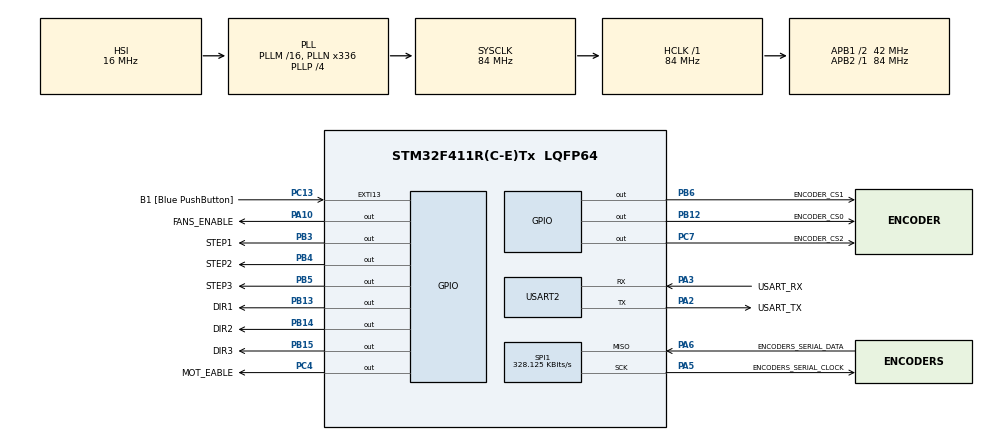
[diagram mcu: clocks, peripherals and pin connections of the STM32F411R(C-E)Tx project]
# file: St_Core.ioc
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Mcu.Family=STM32F4
Mcu.Name=STM32F411R(C-E)Tx
Mcu.Package=LQFP64
NVIC.PriorityGroup=NVIC_PRIORITYGROUP_2
NVIC.TIM1_TRG_COM_TIM11_IRQn=true\:2\:2\:true\:false\:true\:true
NVIC.TIM1_UP_TIM10_IRQn=true\:1\:1\:true\:false\:true\:true
NVIC.USART2_IRQn=true\:0\:0\:false\:false\:true\:true
PA10.GPIO_Label=FANS_ENABLE
PA10.Signal=GPIO_Output
PA13.GPIO_Label=TMS
PA13.Mode=Serial_Wire
PA13.Signal=SYS_JTMS-SWDIO
PA14.GPIO_Label=TCK
PA14.Mode=Serial_Wire
PA14.Signal=SYS_JTCK-SWCLK
PA2.GPIO_Label=USART_TX
PA2.Mode=Asynchronous
PA2.Signal=USART2_TX
PA3.GPIO_Label=USART_RX
PA3.Mode=Asynchronous
PA3.Signal=USART2_RX
PA5.GPIO_Label=ENCODERS_SERIAL_CLOCK
PA5.Mode=RX_Only_Simplex_Unidirect_Master
PA5.Signal=SPI1_SCK
PA6.GPIO_Label=ENCODERS_SERIAL_DATA
PA6.Mode=RX_Only_Simplex_Unidirect_Master
PA6.Signal=SPI1_MISO
PB12.GPIO_Label=ENCODER_CS0
PB12.Signal=GPIO_Output
PB13.GPIO_Label=DIR1
PB13.Signal=GPIO_Output
PB14.GPIO_Label=DIR2
PB14.Signal=GPIO_Output
PB15.GPIO_Label=DIR3
PB15.Signal=GPIO_Output
PB3.GPIO_Label=STEP1
PB3.Signal=GPIO_Output
PB4.GPIO_Label=STEP2
PB4.Signal=GPIO_Output
PB5.GPIO_Label=STEP3
PB5.Signal=GPIO_Output
PB6.GPIO_Label=ENCODER_CS1
PB6.Signal=GPIO_Output
PC13-ANTI_TAMP.GPIO_Label=B1 [Blue PushButton]
PC13-ANTI_TAMP.GPIO_ModeDefaultEXTI=GPIO_MODE_IT_FALLING
PC13-ANTI_TAMP.Signal=GPXTI13
PC14-OSC32_IN.Mode=LSE-External-Oscillator
PC14-OSC32_IN.Signal=RCC_OSC32_IN
PC15-OSC32_OUT.Mode=LSE-External-Oscillator
PC15-OSC32_OUT.Signal=RCC_OSC32_OUT
PC4.GPIO_Label=MOT_EABLE
PC4.Signal=GPIO_Output
PC7.GPIO_Label=ENCODER_CS2
PC7.Signal=GPIO_Output
PH0\ -\ OSC_IN.Mode=HSE-External-Clock-Source
PH0\ -\ OSC_IN.Signal=RCC_OSC_IN
PH1\ -\ OSC_OUT.Mode=HSE-External-Clock-Source
PH1\ -\ OSC_OUT.Signal=RCC_OSC_OUT
ProjectManager.HeapSize=0x200
ProjectManager.StackSize=0x400
ProjectManager.TargetToolchain=SW4STM32
RCC.48MHZClocksFreq_Value=84000000
RCC.AHBFreq_Value=84000000
RCC.APB1CLKDivider=RCC_HCLK_DIV2
RCC.APB1Freq_Value=42000000
RCC.APB1TimFreq_Value=84000000
RCC.APB2Freq_Value=84000000
RCC.APB2TimFreq_Value=84000000
RCC.CortexFreq_Value=84000000
RCC.FLatency-AdvancedSettings=FLASH_LATENCY_2
RCC.HCLKFreq_Value=84000000
RCC.HSE_VALUE=8000000
RCC.HSI_VALUE=16000000
RCC.PLLN=336
RCC.PLLP=RCC_PLLP_DIV4
RCC.SYSCLKFreq_VALUE=84000000
RCC.SYSCLKSource=RCC_SYSCLKSOURCE_PLLCLK
RCC.VCOOutputFreq_Value=336000000
SPI1.BaudRatePrescaler=SPI_BAUDRATEPRESCALER_256
SPI1.CLKPhase=SPI_PHASE_2EDGE
SPI1.CLKPolarity=SPI_POLARITY_HIGH
SPI1.CalculateBaudRate=328.125 KBits/s
SPI1.DataSize=SPI_DATASIZE_16BIT
SPI1.Direction=SPI_DIRECTION_2LINES_RXONLY
SPI1.Mode=SPI_MODE_MASTER
SPI1.VirtualType=VM_MASTER
TIM10.Period=10
TIM10.Prescaler=7
TIM11.Period=1007
TIM11.Prescaler=28
USART2.VirtualMode=VM_ASYNC
VP_TIM10_VS_ClockSourceINT.Mode=Enable_Timer
VP_TIM11_VS_ClockSourceINT.Mode=Enable_Timer
board=NUCLEO-F411RE

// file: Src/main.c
/**
  ******************************************************************************
  * @file           : main.c
  * @brief          : Main program body
  ******************************************************************************
  ** This notice applies to any and all portions of this file
  * that are not between comment pairs USER CODE BEGIN and
  * USER CODE END. Other portions of this file, whether
  * inserted by the user or by software development tools
  * are owned by their respective copyright owners.
  *
  * COPYRIGHT(c) 2018 STMicroelectronics
  *
  * Redistribution and use in source and binary forms, with or without modification,
  * are permitted provided that the following conditions are met:
  *   1. Redistributions of source code must retain the above copyright notice,
  *      this list of conditions and the following disclaimer.
  *   2. Redistributions in binary form must reproduce the above copyright notice,
  *      this list of conditions and the following disclaimer in the documentation
  *      and/or other materials provided with the distribution.
  *   3. Neither the name of STMicroelectronics nor the names of its contributors
  *      may be used to endorse or promote products derived from this software
  *      without specific prior written permission.
  *
  * THIS SOFTWARE IS PROVIDED BY THE COPYRIGHT HOLDERS AND CONTRIBUTORS "AS IS"
  * AND ANY EXPRESS OR IMPLIED WARRANTIES, INCLUDING, BUT NOT LIMITED TO, THE
  * IMPLIED WARRANTIES OF MERCHANTABILITY AND FITNESS FOR A PARTICULAR PURPOSE ARE
  * DISCLAIMED. IN NO EVENT SHALL THE COPYRIGHT HOLDER OR CONTRIBUTORS BE LIABLE
  * FOR ANY DIRECT, INDIRECT, INCIDENTAL, SPECIAL, EXEMPLARY, OR CONSEQUENTIAL
  * DAMAGES (INCLUDING, BUT NOT LIMITED TO, PROCUREMENT OF SUBSTITUTE GOODS OR
  * SERVICES; LOSS OF USE, DATA, OR PROFITS; OR BUSINESS INTERRUPTION) HOWEVER
  * CAUSED AND ON ANY THEORY OF LIABILITY, WHETHER IN CONTRACT, STRICT LIABILITY,
  * OR TORT (INCLUDING NEGLIGENCE OR OTHERWISE) ARISING IN ANY WAY OUT OF THE USE
  * OF THIS SOFTWARE, EVEN IF ADVISED OF THE POSSIBILITY OF SUCH DAMAGE.
  *
  ******************************************************************************
  */
#include "main.h"
#include "stm32f4xx_hal.h"
#include "spi.h"
#include "tim.h"
#include "usart.h"
#include "gpio.h"

/* USER CODE BEGIN Includes */
#include "Comms.h"
//#include "encoder_lib.h"
//#include "Steper.h"

/* USER CODE END Includes */

/* USER CODE BEGIN PV */
/* Private variables ---------------------------------------------------------*/

/* USER CODE END PV */

void SystemClock_Config(void);

/* USER CODE BEGIN PFP */
/* Private function prototypes -----------------------------------------------*/
//uint8_t Received[8];
int encoder_update;
incoming_buffer buffer;
int size=32;
float e1,e2,e3;

void HAL_UART_RxCpltCallback(UART_HandleTypeDef *huart)
{
	gather(&buffer);
	HAL_UART_Receive_IT(&huart2, &buffer.Byte, 1);

}
void HAL_TIM_PeriodElapsedCallback(TIM_HandleTypeDef *htim)
{

	if(htim->Instance == TIM11)
	{
				e_read(&position_from_encoder[0],0);
				e_read(&position_from_encoder[1],1);
				e_read(&position_from_encoder[2],2);

	}

	if(htim->Instance == TIM10){ //

		if(buffer.flag==1)
				{
					//HAL_GPIO_TogglePin(LD2_GPIO_Port,LD2_Pin);
					HAL_UART_Transmit_IT(&huart2, buffer.Send_, size);
					//HAL_UART_Transmit_IT(&huart1, buffer.Send_, size);
					buffer.flag=0;
				}

		Stepper_Counter_0++;	 Stepper_Counter_1++ ;	 Stepper_Counter_2++;	encoder_update++;
		if(encoder_update>1000)
		{

			e_read(&position_from_encoder[0],0);
			e_read(&position_from_encoder[1],1);
			e_read(&position_from_encoder[2],2);
			encoder_update=0;

		}

		//////////////////////////Stepper_0///////////////////////////////
		///////////      DIR1_Pin-Direction STEP1_Pin-Step              /////////////

		if(Stepper_Counter_0 > Period_memory_0)
		{

			//e_read(&position_from_encoder[0],0);
			Stepper_Counter_0 = 0;
			Next_Lin_Period(0);
			Period_memory_0 = Stepper_period[0];             //buffored value being loaded if counter reaches requested previous period.

			if(rotation_Dir_[0])
			{
				HAL_GPIO_WritePin(DIR1_GPIO_Port, DIR1_Pin, GPIO_PIN_SET);
			}
			else
			{
				HAL_GPIO_WritePin(DIR1_GPIO_Port, DIR1_Pin, GPIO_PIN_RESET);
			}
		}

		if(Period_memory_0!=0)
		{
			if(Stepper_Counter_0==0)   {	HAL_GPIO_WritePin(STEP1_GPIO_Port, STEP1_Pin, GPIO_PIN_SET);		}
			if(Stepper_Counter_0==1)   {	HAL_GPIO_WritePin(STEP1_GPIO_Port, STEP1_Pin, GPIO_PIN_RESET);	}
		}

		/////////////////////////////Stepper_1/////////////////////////////////////////////////////////////
		//////////////////////			 DIR2_Pin-Direction STEP2_Pin-Step								///////////////
		if(Stepper_Counter_1 > Period_memory_1)
		{

			//e_read(&position_from_encoder[1],1);
			Stepper_Counter_1 = 0;      	// reset licznika
			Next_Lin_Period(1);
			Period_memory_1 = Stepper_period[1];
			if(rotation_Dir_[1])
			{
				HAL_GPIO_WritePin(DIR2_GPIO_Port, DIR2_Pin, GPIO_PIN_SET);   	\
			}

			else
			{
				HAL_GPIO_WritePin(DIR2_GPIO_Port, DIR2_Pin, GPIO_PIN_RESET);
			}

		}
		if(Period_memory_1!=0){

			if(Stepper_Counter_1==0)   {		HAL_GPIO_WritePin(STEP2_GPIO_Port, STEP2_Pin, GPIO_PIN_SET);			}
			if(Stepper_Counter_1==1)   {		HAL_GPIO_WritePin(STEP2_GPIO_Port, STEP2_Pin, GPIO_PIN_RESET);		}
		}
		/////////////////////////////Stepper_2///////////////////////////////////////
		///////////			 DIR3_Pin-Direction STEP3_Pin-Step			/////////////////////////
		if(Stepper_Counter_2 > Period_memory_2)
		{

			//e_read(&position_from_encoder[2],2);

			Stepper_Counter_2 = 0;
			Next_Lin_Period(2);
			Period_memory_2 = Stepper_period[2];
			if(rotation_Dir_[2])
			{
				HAL_GPIO_WritePin(DIR3_GPIO_Port, DIR3_Pin, GPIO_PIN_SET);
			}
			else
			{
				HAL_GPIO_WritePin(DIR3_GPIO_Port, DIR3_Pin, GPIO_PIN_RESET);
			}
		}
		if(Period_memory_2!=0){

			if(Stepper_Counter_2==0)   {	HAL_GPIO_WritePin(STEP3_GPIO_Port, STEP3_Pin, GPIO_PIN_SET);		}
			if(Stepper_Counter_2==1)   {	HAL_GPIO_WritePin(STEP3_GPIO_Port, STEP3_Pin, GPIO_PIN_RESET);		}
		}
	}
}

/* USER CODE END PFP */

int main(void)
{

  /* MCU Configuration----------------------------------------------------------*/

  /* Reset of all peripherals, Initializes the Flash interface and the Systick. */
  HAL_Init();

  /* USER CODE BEGIN Init */
  buffer.container.what=0;
  buffer.flag=0;
  buffer.status=0;
  /* USER CODE END Init */

  /* Configure the system clock */
  SystemClock_Config();

  /* Initialize all configured peripherals */
  MX_GPIO_Init();
  MX_USART2_UART_Init();
  MX_TIM10_Init();
  MX_TIM11_Init();
  MX_SPI1_Init();
  /* USER CODE BEGIN 2 */
  HAL_UART_Receive_IT(&huart2, &buffer.Byte, 1);
  HAL_TIM_Base_Start_IT(&htim10);
  HAL_TIM_Base_Start_IT(&htim11);
 // ST_MOT_Init(2,0.1,5000,200);

	//ST_MOT_Init(1,0.1,10000,100);
	//ST_MOT_Init(2,0.1,10000,100); 	// initial engine values
	//Movement_Prep(2,0);				    // selecting stepper, and position iN radians.

  /* USER CODE END 2 */

  /* Infinite loop */
  while (1)
  {

  }

}

void SystemClock_Config(void)
{

  RCC_OscInitTypeDef RCC_OscInitStruct;
  RCC_ClkInitTypeDef RCC_ClkInitStruct;

    /**Configure the main internal regulator output voltage
    */
  __HAL_RCC_PWR_CLK_ENABLE();

  __HAL_PWR_VOLTAGESCALING_CONFIG(PWR_REGULATOR_VOLTAGE_SCALE1);

    /**Initializes the CPU, AHB and APB busses clocks
    */
  RCC_OscInitStruct.OscillatorType = RCC_OSCILLATORTYPE_HSI;
  RCC_OscInitStruct.HSIState = RCC_HSI_ON;
  RCC_OscInitStruct.HSICalibrationValue = 16;
  RCC_OscInitStruct.PLL.PLLState = RCC_PLL_ON;
  RCC_OscInitStruct.PLL.PLLSource = RCC_PLLSOURCE_HSI;
  RCC_OscInitStruct.PLL.PLLM = 16;
  RCC_OscInitStruct.PLL.PLLN = 336;
  RCC_OscInitStruct.PLL.PLLP = RCC_PLLP_DIV4;
  RCC_OscInitStruct.PLL.PLLQ = 4;
  if (HAL_RCC_OscConfig(&RCC_OscInitStruct) != HAL_OK)
  {
    _Error_Handler(__FILE__, __LINE__);
  }

    /**Initializes the CPU, AHB and APB busses clocks
    */
  RCC_ClkInitStruct.ClockType = RCC_CLOCKTYPE_HCLK|RCC_CLOCKTYPE_SYSCLK
                              |RCC_CLOCKTYPE_PCLK1|RCC_CLOCKTYPE_PCLK2;
  RCC_ClkInitStruct.SYSCLKSource = RCC_SYSCLKSOURCE_PLLCLK;
  RCC_ClkInitStruct.AHBCLKDivider = RCC_SYSCLK_DIV1;
  RCC_ClkInitStruct.APB1CLKDivider = RCC_HCLK_DIV2;
  RCC_ClkInitStruct.APB2CLKDivider = RCC_HCLK_DIV1;

  if (HAL_RCC_ClockConfig(&RCC_ClkInitStruct, FLASH_LATENCY_2) != HAL_OK)
  {
    _Error_Handler(__FILE__, __LINE__);
  }

    /**Configure the Systick interrupt time
    */
  HAL_SYSTICK_Config(HAL_RCC_GetHCLKFreq()/1000);

    /**Configure the Systick
    */
  HAL_SYSTICK_CLKSourceConfig(SYSTICK_CLKSOURCE_HCLK);

  /* SysTick_IRQn interrupt configuration */
  HAL_NVIC_SetPriority(SysTick_IRQn, 0, 0);
}

void _Error_Handler(char *file, int line)
{
  while(1)
  {
  }
}

/************************ (C) COPYRIGHT STMicroelectronics *****END OF FILE****/
